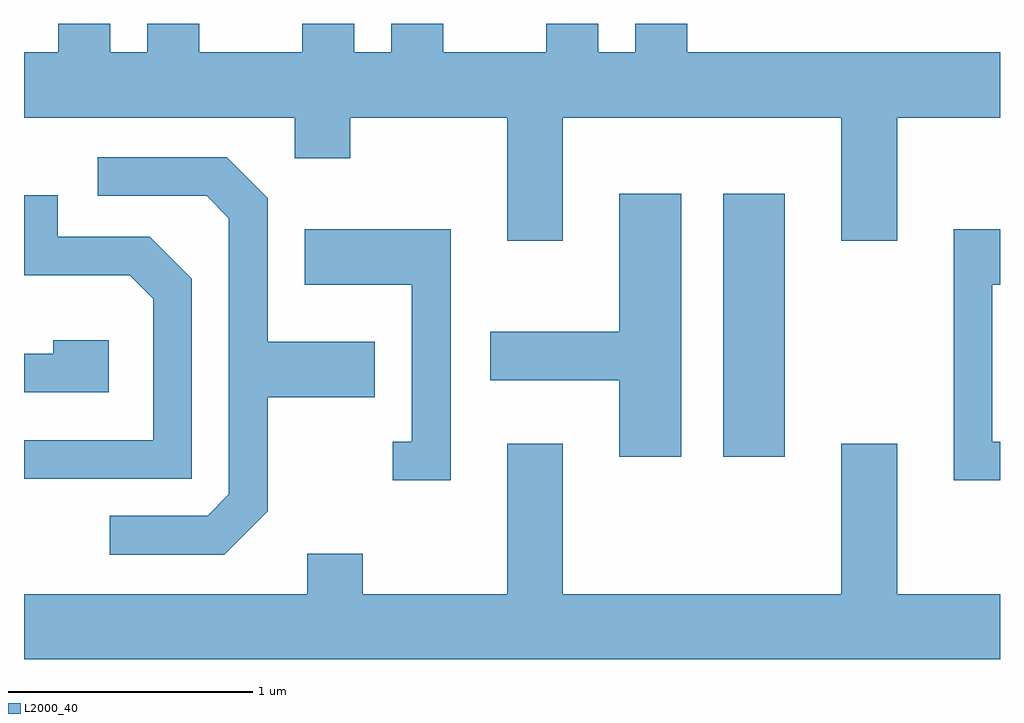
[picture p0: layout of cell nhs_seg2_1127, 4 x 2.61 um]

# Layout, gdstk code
import gdstk
lib = gdstk.Library(unit=1e-6, precision=1e-09)
def R(c, l, rs):  # rectangles x0, y0, x1, y1
    for r in rs: c.add(gdstk.rectangle(r[:2], r[2:], *l))
def P(c, l, *ps):  # polygons
    for p in ps: c.add(gdstk.Polygon(p, *l))
L2000_40 = (2000, 40)

nhs_seg2_1127 = lib.new_cell('nhs_seg2_1127')
R(nhs_seg2_1127, L2000_40, [(220.476,1058.026,220.729,1059.104)])
P(nhs_seg2_1127, L2000_40, [(219.819,1059.416),(220.961,1059.416),(220.961,1058.911),(221.189,1058.911),(221.189,1059.416),(221.611,1059.416),(221.611,1059.684),(220.329,1059.684),(220.329,1059.802),(220.116,1059.802),(220.116,1059.684),(219.964,1059.684),(219.964,1059.802),(219.751,1059.802),(219.751,1059.684),(219.329,1059.684),(219.329,1059.802),(219.116,1059.802),(219.116,1059.684),(218.964,1059.684),(218.964,1059.802),(218.751,1059.802),(218.751,1059.684),(218.329,1059.684),(218.329,1059.802),(218.116,1059.802),(218.116,1059.684),(217.964,1059.684),(217.964,1059.802),(217.751,1059.802),(217.751,1059.684),(217.611,1059.684),(217.611,1059.416),(218.721,1059.416),(218.721,1059.251),(218.949,1059.251),(218.949,1059.416),(219.591,1059.416),(219.591,1058.911),(219.819,1058.911)],
  [(218.609,1057.804),(218.609,1058.271),(219.049,1058.271),(219.049,1058.499),(218.609,1058.499),(218.609,1059.087),(218.442,1059.254),(217.913,1059.254),(217.913,1059.096),(218.359,1059.096),(218.451,1059.004),(218.451,1057.872),(218.364,1057.784),(217.963,1057.784),(217.963,1057.626),(218.432,1057.626)],
  [(220.304,1059.104),(220.051,1059.104),(220.051,1058.539),(219.521,1058.539),(219.521,1058.341),(220.051,1058.341),(220.051,1058.026),(220.304,1058.026)],
  [(218.299,1058.757),(218.127,1058.929),(217.749,1058.929),(217.749,1059.099),(217.611,1059.099),(217.611,1058.771),(218.044,1058.771),(218.141,1058.674),(218.141,1058.094),(217.611,1058.094),(217.611,1057.936),(218.299,1057.936)],
  [(221.611,1058.089),(221.579,1058.089),(221.579,1058.731),(221.611,1058.731),(221.611,1058.959),(221.421,1058.959),(221.421,1057.931),(221.611,1057.931)],
  [(219.359,1058.959),(218.761,1058.959),(218.761,1058.731),(219.201,1058.731),(219.201,1058.089),(219.123,1058.089),(219.123,1057.931),(219.359,1057.931)],
  [(217.959,1058.504),(217.731,1058.504),(217.731,1058.449),(217.611,1058.449),(217.611,1058.291),(217.959,1058.291)],
  [(221.611,1057.464),(221.189,1057.464),(221.189,1058.079),(220.961,1058.079),(220.961,1057.464),(219.819,1057.464),(219.819,1058.079),(219.591,1058.079),(219.591,1057.464),(218.999,1057.464),(218.999,1057.629),(218.771,1057.629),(218.771,1057.464),(217.611,1057.464),(217.611,1057.196),(221.611,1057.196)])

lib.write_gds('nhs_seg2_1127.gds')
